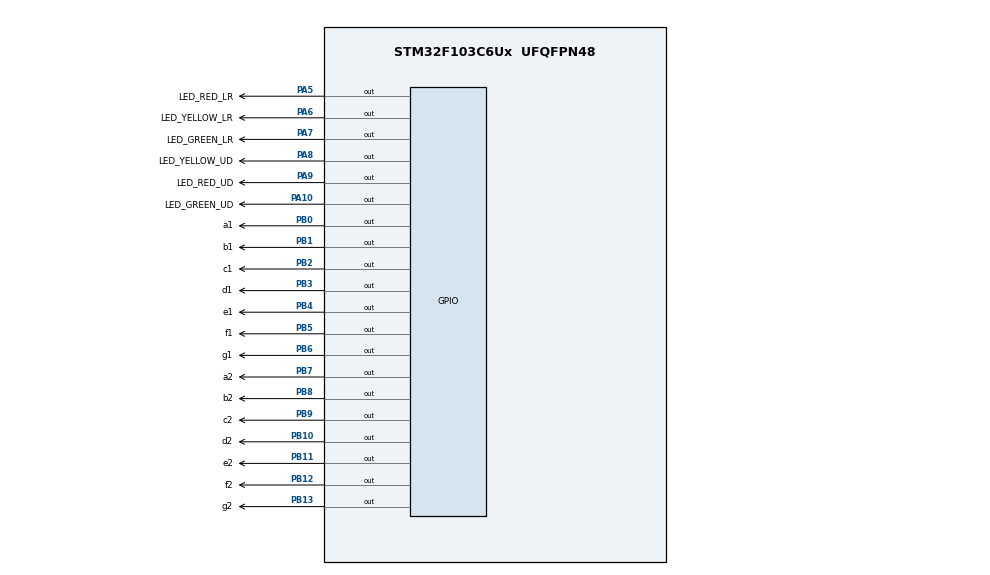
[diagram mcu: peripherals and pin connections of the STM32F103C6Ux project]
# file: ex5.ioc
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Mcu.Family=STM32F1
Mcu.Name=STM32F103C6Ux
Mcu.Package=UFQFPN48
NVIC.PriorityGroup=NVIC_PRIORITYGROUP_4
PA10.GPIO_Label=LED_GREEN_UD
PA10.Signal=GPIO_Output
PA5.GPIO_Label=LED_RED_LR
PA5.Signal=GPIO_Output
PA6.GPIO_Label=LED_YELLOW_LR
PA6.Signal=GPIO_Output
PA7.GPIO_Label=LED_GREEN_LR
PA7.Signal=GPIO_Output
PA8.GPIO_Label=LED_YELLOW_UD
PA8.Signal=GPIO_Output
PA9.GPIO_Label=LED_RED_UD
PA9.Signal=GPIO_Output
PB0.GPIO_Label=a1
PB0.Signal=GPIO_Output
PB1.GPIO_Label=b1
PB1.Signal=GPIO_Output
PB10.GPIO_Label=d2
PB10.Signal=GPIO_Output
PB11.GPIO_Label=e2
PB11.Signal=GPIO_Output
PB12.GPIO_Label=f2
PB12.Signal=GPIO_Output
PB13.GPIO_Label=g2
PB13.Signal=GPIO_Output
PB2.GPIO_Label=c1
PB2.Signal=GPIO_Output
PB3.GPIO_Label=d1
PB3.Signal=GPIO_Output
PB4.GPIO_Label=e1
PB4.Signal=GPIO_Output
PB5.GPIO_Label=f1
PB5.Signal=GPIO_Output
PB6.GPIO_Label=g1
PB6.Signal=GPIO_Output
PB7.GPIO_Label=a2
PB7.Signal=GPIO_Output
PB8.GPIO_Label=b2
PB8.Signal=GPIO_Output
PB9.GPIO_Label=c2
PB9.Signal=GPIO_Output
ProjectManager.HeapSize=0x200
ProjectManager.StackSize=0x400
ProjectManager.TargetToolchain=STM32CubeIDE
RCC.APB1Freq_Value=8000000
RCC.APB2Freq_Value=8000000
VP_SYS_VS_ND.Mode=No_Debug
board=custom

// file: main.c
/* USER CODE BEGIN Header */
/**
  ******************************************************************************
  * @file           : main.c
  * @brief          : Main program body
  ******************************************************************************
  * @attention
  *
  * <h2><center>&copy; Copyright (c) 2022 STMicroelectronics.
  * All rights reserved.</center></h2>
  *
  * This software component is licensed by ST under BSD 3-Clause license,
  * the "License"; You may not use this file except in compliance with the
  * License. You may obtain a copy of the License at:
  *                        opensource.org/licenses/BSD-3-Clause
  *
  ******************************************************************************
  */
/* USER CODE END Header */
#include "main.h"

void SystemClock_Config(void);
static void MX_GPIO_Init(void);

/* USER CODE BEGIN 0 */
void Display7SEG1(int count){
  	switch (count) {
  		case 0:
  			HAL_GPIO_WritePin(a1_GPIO_Port, a1_Pin, 0);
  			HAL_GPIO_WritePin(b1_GPIO_Port, b1_Pin, 0);
  			HAL_GPIO_WritePin(c1_GPIO_Port, c1_Pin, 0);
  			HAL_GPIO_WritePin(d1_GPIO_Port, d1_Pin, 0);
  			HAL_GPIO_WritePin(e1_GPIO_Port, e1_Pin, 0);
  			HAL_GPIO_WritePin(f1_GPIO_Port, f1_Pin, 0);
  			HAL_GPIO_WritePin(g1_GPIO_Port, g1_Pin, 1);
  			break;
  		case 1:
  				HAL_GPIO_WritePin(a1_GPIO_Port, a1_Pin, 1);
  				HAL_GPIO_WritePin(b1_GPIO_Port, b1_Pin, 0);
  				HAL_GPIO_WritePin(c1_GPIO_Port, c1_Pin, 0);
  				HAL_GPIO_WritePin(d1_GPIO_Port, d1_Pin, 1);
  				HAL_GPIO_WritePin(e1_GPIO_Port, e1_Pin, 1);
  				HAL_GPIO_WritePin(f1_GPIO_Port, f1_Pin, 1);
  				HAL_GPIO_WritePin(g1_GPIO_Port, g1_Pin, 1);
  				break;
  		case 2:
  				HAL_GPIO_WritePin(a1_GPIO_Port, a1_Pin, 0);
  				HAL_GPIO_WritePin(b1_GPIO_Port, b1_Pin, 0);
  				HAL_GPIO_WritePin(c1_GPIO_Port, c1_Pin, 1);
  				HAL_GPIO_WritePin(d1_GPIO_Port, d1_Pin, 0);
  				HAL_GPIO_WritePin(e1_GPIO_Port, e1_Pin, 0);
  				HAL_GPIO_WritePin(f1_GPIO_Port, f1_Pin, 1);
  				HAL_GPIO_WritePin(g1_GPIO_Port, g1_Pin, 0);
  				break;
  		case 3:
  				HAL_GPIO_WritePin(a1_GPIO_Port, a1_Pin, 0);
  				HAL_GPIO_WritePin(b1_GPIO_Port, b1_Pin, 0);
  				HAL_GPIO_WritePin(c1_GPIO_Port, c1_Pin, 0);
  				HAL_GPIO_WritePin(d1_GPIO_Port, d1_Pin, 0);
  				HAL_GPIO_WritePin(e1_GPIO_Port, e1_Pin, 1);
  				HAL_GPIO_WritePin(f1_GPIO_Port, f1_Pin, 1);
  				HAL_GPIO_WritePin(g1_GPIO_Port, g1_Pin, 0);
  				break;
  		case 4:
  				HAL_GPIO_WritePin(a1_GPIO_Port, a1_Pin, 1);
  				HAL_GPIO_WritePin(b1_GPIO_Port, b1_Pin, 0);
  				HAL_GPIO_WritePin(c1_GPIO_Port, c1_Pin, 0);
  				HAL_GPIO_WritePin(d1_GPIO_Port, d1_Pin, 1);
  				HAL_GPIO_WritePin(e1_GPIO_Port, e1_Pin, 1);
  				HAL_GPIO_WritePin(f1_GPIO_Port, f1_Pin, 0);
  				HAL_GPIO_WritePin(g1_GPIO_Port, g1_Pin, 0);
  				break;
  		case 5:
  				HAL_GPIO_WritePin(a1_GPIO_Port, a1_Pin, 0);
  				HAL_GPIO_WritePin(b1_GPIO_Port, b1_Pin, 1);
  				HAL_GPIO_WritePin(c1_GPIO_Port, c1_Pin, 0);
  				HAL_GPIO_WritePin(d1_GPIO_Port, d1_Pin, 0);
  				HAL_GPIO_WritePin(e1_GPIO_Port, e1_Pin, 1);
  				HAL_GPIO_WritePin(f1_GPIO_Port, f1_Pin, 0);
  				HAL_GPIO_WritePin(g1_GPIO_Port, g1_Pin, 0);
  				break;
  		case 6:
  				HAL_GPIO_WritePin(a1_GPIO_Port, a1_Pin, 0);
  				HAL_GPIO_WritePin(b1_GPIO_Port, b1_Pin, 1);
  				HAL_GPIO_WritePin(c1_GPIO_Port, c1_Pin, 0);
  				HAL_GPIO_WritePin(d1_GPIO_Port, d1_Pin, 0);
  				HAL_GPIO_WritePin(e1_GPIO_Port, e1_Pin, 0);
  				HAL_GPIO_WritePin(f1_GPIO_Port, f1_Pin, 0);
  				HAL_GPIO_WritePin(g1_GPIO_Port, g1_Pin, 0);
  				break;
  		case 7:
  				HAL_GPIO_WritePin(a1_GPIO_Port, a1_Pin, 0);
  				HAL_GPIO_WritePin(b1_GPIO_Port, b1_Pin, 0);
  				HAL_GPIO_WritePin(c1_GPIO_Port, c1_Pin, 0);
  				HAL_GPIO_WritePin(d1_GPIO_Port, d1_Pin, 1);
  				HAL_GPIO_WritePin(e1_GPIO_Port, e1_Pin, 1);
  				HAL_GPIO_WritePin(f1_GPIO_Port, f1_Pin, 1);
  				HAL_GPIO_WritePin(g1_GPIO_Port, g1_Pin, 1);
  				break;
  		case 8:
  				HAL_GPIO_WritePin(a1_GPIO_Port, a1_Pin, 0);
  				HAL_GPIO_WritePin(b1_GPIO_Port, b1_Pin, 0);
  				HAL_GPIO_WritePin(c1_GPIO_Port, c1_Pin, 0);
  				HAL_GPIO_WritePin(d1_GPIO_Port, d1_Pin, 0);
  				HAL_GPIO_WritePin(e1_GPIO_Port, e1_Pin, 0);
  				HAL_GPIO_WritePin(f1_GPIO_Port, f1_Pin, 0);
  				HAL_GPIO_WritePin(g1_GPIO_Port, g1_Pin, 0);
  				break;
  		case 9:
  				HAL_GPIO_WritePin(a1_GPIO_Port, a1_Pin, 0);
  				HAL_GPIO_WritePin(b1_GPIO_Port, b1_Pin, 0);
  				HAL_GPIO_WritePin(c1_GPIO_Port, c1_Pin, 0);
  				HAL_GPIO_WritePin(d1_GPIO_Port, d1_Pin, 0);
  				HAL_GPIO_WritePin(e1_GPIO_Port, e1_Pin, 1);
  				HAL_GPIO_WritePin(f1_GPIO_Port, f1_Pin, 0);
  				HAL_GPIO_WritePin(g1_GPIO_Port, g1_Pin, 0);
  				break;
  		default:
  			break;
  	}
  }
  void Display7SEG2(int count){
    	switch (count) {
    		case 0:
    			HAL_GPIO_WritePin(a2_GPIO_Port, a2_Pin, 0);
    			HAL_GPIO_WritePin(b2_GPIO_Port, b2_Pin, 0);
    			HAL_GPIO_WritePin(c2_GPIO_Port, c2_Pin, 0);
    			HAL_GPIO_WritePin(d2_GPIO_Port, d2_Pin, 0);
    			HAL_GPIO_WritePin(e2_GPIO_Port, e2_Pin, 0);
    			HAL_GPIO_WritePin(f2_GPIO_Port, f2_Pin, 0);
    			HAL_GPIO_WritePin(g2_GPIO_Port, g2_Pin, 1);
    			break;
    		case 1:
    				HAL_GPIO_WritePin(a2_GPIO_Port, a2_Pin, 1);
    				HAL_GPIO_WritePin(b2_GPIO_Port, b2_Pin, 0);
    				HAL_GPIO_WritePin(c2_GPIO_Port, c2_Pin, 0);
    				HAL_GPIO_WritePin(d2_GPIO_Port, d2_Pin, 1);
    				HAL_GPIO_WritePin(e2_GPIO_Port, e2_Pin, 1);
    				HAL_GPIO_WritePin(f2_GPIO_Port, f2_Pin, 1);
    				HAL_GPIO_WritePin(g2_GPIO_Port, g2_Pin, 1);
    				break;
    		case 2:
    				HAL_GPIO_WritePin(a2_GPIO_Port, a2_Pin, 0);
    				HAL_GPIO_WritePin(b2_GPIO_Port, b2_Pin, 0);
    				HAL_GPIO_WritePin(c2_GPIO_Port, c2_Pin, 1);
    				HAL_GPIO_WritePin(d2_GPIO_Port, d2_Pin, 0);
    				HAL_GPIO_WritePin(e2_GPIO_Port, e2_Pin, 0);
    				HAL_GPIO_WritePin(f2_GPIO_Port, f2_Pin, 1);
    				HAL_GPIO_WritePin(g2_GPIO_Port, g2_Pin, 0);
    				break;
    		case 3:
    				HAL_GPIO_WritePin(a2_GPIO_Port, a2_Pin, 0);
    				HAL_GPIO_WritePin(b2_GPIO_Port, b2_Pin, 0);
    				HAL_GPIO_WritePin(c2_GPIO_Port, c2_Pin, 0);
    				HAL_GPIO_WritePin(d2_GPIO_Port, d2_Pin, 0);
    				HAL_GPIO_WritePin(e2_GPIO_Port, e2_Pin, 1);
    				HAL_GPIO_WritePin(f2_GPIO_Port, f2_Pin, 1);
    				HAL_GPIO_WritePin(g2_GPIO_Port, g2_Pin, 0);
    				break;
    		case 4:
    				HAL_GPIO_WritePin(a2_GPIO_Port, a2_Pin, 1);
    				HAL_GPIO_WritePin(b2_GPIO_Port, b2_Pin, 0);
    				HAL_GPIO_WritePin(c2_GPIO_Port, c2_Pin, 0);
    				HAL_GPIO_WritePin(d2_GPIO_Port, d2_Pin, 1);
    				HAL_GPIO_WritePin(e2_GPIO_Port, e2_Pin, 1);
    				HAL_GPIO_WritePin(f2_GPIO_Port, f2_Pin, 0);
    				HAL_GPIO_WritePin(g2_GPIO_Port, g2_Pin, 0);
    				break;
    		case 5:
    				HAL_GPIO_WritePin(a2_GPIO_Port, a2_Pin, 0);
    				HAL_GPIO_WritePin(b2_GPIO_Port, b2_Pin, 1);
    				HAL_GPIO_WritePin(c2_GPIO_Port, c2_Pin, 0);
    				HAL_GPIO_WritePin(d2_GPIO_Port, d2_Pin, 0);
    				HAL_GPIO_WritePin(e2_GPIO_Port, e2_Pin, 1);
    				HAL_GPIO_WritePin(f2_GPIO_Port, f2_Pin, 0);
    				HAL_GPIO_WritePin(g2_GPIO_Port, g2_Pin, 0);
    				break;
    		case 6:
    				HAL_GPIO_WritePin(a2_GPIO_Port, a2_Pin, 0);
    				HAL_GPIO_WritePin(b2_GPIO_Port, b2_Pin, 1);
    				HAL_GPIO_WritePin(c2_GPIO_Port, c2_Pin, 0);
    				HAL_GPIO_WritePin(d2_GPIO_Port, d2_Pin, 0);
    				HAL_GPIO_WritePin(e2_GPIO_Port, e2_Pin, 0);
    				HAL_GPIO_WritePin(f2_GPIO_Port, f2_Pin, 0);
    				HAL_GPIO_WritePin(g2_GPIO_Port, g2_Pin, 0);
    				break;
    		case 7:
    				HAL_GPIO_WritePin(a2_GPIO_Port, a2_Pin, 0);
    				HAL_GPIO_WritePin(b2_GPIO_Port, b2_Pin, 0);
    				HAL_GPIO_WritePin(c2_GPIO_Port, c2_Pin, 0);
    				HAL_GPIO_WritePin(d2_GPIO_Port, d2_Pin, 1);
    				HAL_GPIO_WritePin(e2_GPIO_Port, e2_Pin, 1);
    				HAL_GPIO_WritePin(f2_GPIO_Port, f2_Pin, 1);
    				HAL_GPIO_WritePin(g2_GPIO_Port, g2_Pin, 1);
    				break;
    		case 8:
    				HAL_GPIO_WritePin(a2_GPIO_Port, a2_Pin, 0);
    				HAL_GPIO_WritePin(b2_GPIO_Port, b2_Pin, 0);
    				HAL_GPIO_WritePin(c2_GPIO_Port, c2_Pin, 0);
    				HAL_GPIO_WritePin(d2_GPIO_Port, d2_Pin, 0);
    				HAL_GPIO_WritePin(e2_GPIO_Port, e2_Pin, 0);
    				HAL_GPIO_WritePin(f2_GPIO_Port, f2_Pin, 0);
    				HAL_GPIO_WritePin(g2_GPIO_Port, g2_Pin, 0);
    				break;
    		case 9:
    				HAL_GPIO_WritePin(a2_GPIO_Port, a2_Pin, 0);
    				HAL_GPIO_WritePin(b2_GPIO_Port, b2_Pin, 0);
    				HAL_GPIO_WritePin(c2_GPIO_Port, c2_Pin, 0);
    				HAL_GPIO_WritePin(d2_GPIO_Port, d2_Pin, 0);
    				HAL_GPIO_WritePin(e2_GPIO_Port, e2_Pin, 1);
    				HAL_GPIO_WritePin(f2_GPIO_Port, f2_Pin, 0);
    				HAL_GPIO_WritePin(g2_GPIO_Port, g2_Pin, 0);
    				break;
    		default:
    			break;
    	}
    }
/* USER CODE END 0 */

int main(void)
{

  /* MCU Configuration--------------------------------------------------------*/

  /* Reset of all peripherals, Initializes the Flash interface and the Systick. */
  HAL_Init();

  /* Configure the system clock */
  SystemClock_Config();

  /* Initialize all configured peripherals */
  MX_GPIO_Init();

  /* Infinite loop */
  /* USER CODE BEGIN WHILE */
  int count1, count2;
  while (1)
  {
    /* USER CODE END WHILE */

    /* USER CODE BEGIN 3 */

	HAL_GPIO_WritePin(LED_RED_LR_GPIO_Port, LED_RED_LR_Pin, 1);
	HAL_GPIO_WritePin(LED_RED_UD_GPIO_Port, LED_RED_UD_Pin, 0);
	HAL_GPIO_WritePin(LED_YELLOW_LR_GPIO_Port, LED_YELLOW_LR_Pin, 0);
	HAL_GPIO_WritePin(LED_YELLOW_UD_GPIO_Port, LED_YELLOW_UD_Pin, 0);
	HAL_GPIO_WritePin(LED_GREEN_LR_GPIO_Port, LED_GREEN_LR_Pin, 0);
	HAL_GPIO_WritePin(LED_GREEN_UD_GPIO_Port, LED_GREEN_UD_Pin, 1);
	count1 = 8;
	count2 = 5;
	for(int i = 0; i < 8; i++){
		Display7SEG1(count1--);
		Display7SEG2(count2--);
		if (count2 < 0){
			count2 = 3;
			Display7SEG2(count2--);
		    HAL_GPIO_WritePin(LED_YELLOW_UD_GPIO_Port, LED_YELLOW_UD_Pin, 1);
			HAL_GPIO_WritePin(LED_GREEN_UD_GPIO_Port, LED_GREEN_UD_Pin, 0);
		}
	HAL_Delay(1000);
   }
   HAL_GPIO_WritePin(LED_GREEN_LR_GPIO_Port, LED_GREEN_LR_Pin, 1);
   HAL_GPIO_WritePin(LED_RED_LR_GPIO_Port, LED_RED_LR_Pin, 0);
   HAL_GPIO_WritePin(LED_RED_UD_GPIO_Port, LED_RED_UD_Pin, 1);
   HAL_GPIO_WritePin(LED_YELLOW_UD_GPIO_Port, LED_YELLOW_UD_Pin, 0);
   count1 = 5;
   count2 = 8;
   for(int i = 0; i < 8; i++){
   		Display7SEG2(count2--);
   		Display7SEG1(count1--);
   		if (count1 < 0){
   			count1 = 3;
   			Display7SEG1(count1--);
   		    HAL_GPIO_WritePin(LED_YELLOW_LR_GPIO_Port, LED_YELLOW_LR_Pin, 1);
   			HAL_GPIO_WritePin(LED_GREEN_LR_GPIO_Port, LED_GREEN_LR_Pin, 0);
   		}
   	HAL_Delay(1000);
   }
  }
  /* USER CODE END 3 */
}

void SystemClock_Config(void)
{
  RCC_OscInitTypeDef RCC_OscInitStruct = {0};
  RCC_ClkInitTypeDef RCC_ClkInitStruct = {0};

  /** Initializes the RCC Oscillators according to the specified parameters
  * in the RCC_OscInitTypeDef structure.
  */
  RCC_OscInitStruct.OscillatorType = RCC_OSCILLATORTYPE_HSI;
  RCC_OscInitStruct.HSIState = RCC_HSI_ON;
  RCC_OscInitStruct.HSICalibrationValue = RCC_HSICALIBRATION_DEFAULT;
  RCC_OscInitStruct.PLL.PLLState = RCC_PLL_NONE;
  if (HAL_RCC_OscConfig(&RCC_OscInitStruct) != HAL_OK)
  {
    Error_Handler();
  }
  /** Initializes the CPU, AHB and APB buses clocks
  */
  RCC_ClkInitStruct.ClockType = RCC_CLOCKTYPE_HCLK|RCC_CLOCKTYPE_SYSCLK
                              |RCC_CLOCKTYPE_PCLK1|RCC_CLOCKTYPE_PCLK2;
  RCC_ClkInitStruct.SYSCLKSource = RCC_SYSCLKSOURCE_HSI;
  RCC_ClkInitStruct.AHBCLKDivider = RCC_SYSCLK_DIV1;
  RCC_ClkInitStruct.APB1CLKDivider = RCC_HCLK_DIV1;
  RCC_ClkInitStruct.APB2CLKDivider = RCC_HCLK_DIV1;

  if (HAL_RCC_ClockConfig(&RCC_ClkInitStruct, FLASH_LATENCY_0) != HAL_OK)
  {
    Error_Handler();
  }
}

static void MX_GPIO_Init(void)
{
  GPIO_InitTypeDef GPIO_InitStruct = {0};

  /* GPIO Ports Clock Enable */
  __HAL_RCC_GPIOA_CLK_ENABLE();
  __HAL_RCC_GPIOB_CLK_ENABLE();

  /*Configure GPIO pin Output Level */
  HAL_GPIO_WritePin(GPIOA, LED_RED_LR_Pin|LED_YELLOW_LR_Pin|LED_GREEN_LR_Pin|LED_YELLOW_UD_Pin
                          |LED_RED_UD_Pin|LED_GREEN_UD_Pin, GPIO_PIN_RESET);

  /*Configure GPIO pin Output Level */
  HAL_GPIO_WritePin(GPIOB, a1_Pin|b1_Pin|c1_Pin|d2_Pin
                          |e2_Pin|f2_Pin|g2_Pin|d1_Pin
                          |e1_Pin|f1_Pin|g1_Pin|a2_Pin
                          |b2_Pin|c2_Pin, GPIO_PIN_RESET);

  /*Configure GPIO pins : LED_RED_LR_Pin LED_YELLOW_LR_Pin LED_GREEN_LR_Pin LED_YELLOW_UD_Pin
                           LED_RED_UD_Pin LED_GREEN_UD_Pin */
  GPIO_InitStruct.Pin = LED_RED_LR_Pin|LED_YELLOW_LR_Pin|LED_GREEN_LR_Pin|LED_YELLOW_UD_Pin
                          |LED_RED_UD_Pin|LED_GREEN_UD_Pin;
  GPIO_InitStruct.Mode = GPIO_MODE_OUTPUT_PP;
  GPIO_InitStruct.Pull = GPIO_NOPULL;
  GPIO_InitStruct.Speed = GPIO_SPEED_FREQ_LOW;
  HAL_GPIO_Init(GPIOA, &GPIO_InitStruct);

  /*Configure GPIO pins : a1_Pin b1_Pin c1_Pin d2_Pin
                           e2_Pin f2_Pin g2_Pin d1_Pin
                           e1_Pin f1_Pin g1_Pin a2_Pin
                           b2_Pin c2_Pin */
  GPIO_InitStruct.Pin = a1_Pin|b1_Pin|c1_Pin|d2_Pin
                          |e2_Pin|f2_Pin|g2_Pin|d1_Pin
                          |e1_Pin|f1_Pin|g1_Pin|a2_Pin
                          |b2_Pin|c2_Pin;
  GPIO_InitStruct.Mode = GPIO_MODE_OUTPUT_PP;
  GPIO_InitStruct.Pull = GPIO_NOPULL;
  GPIO_InitStruct.Speed = GPIO_SPEED_FREQ_LOW;
  HAL_GPIO_Init(GPIOB, &GPIO_InitStruct);

}

void Error_Handler(void)
{
  __disable_irq();
  while (1)
  {
  }
}

/************************ (C) COPYRIGHT STMicroelectronics *****END OF FILE****/
